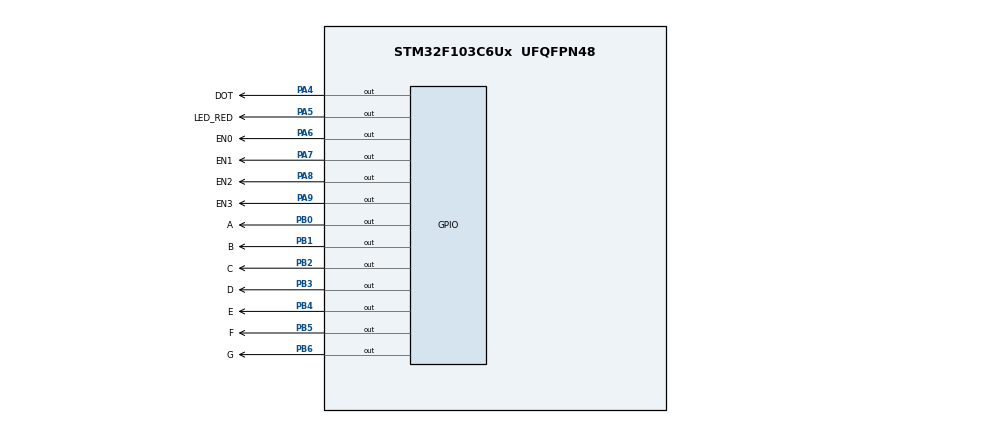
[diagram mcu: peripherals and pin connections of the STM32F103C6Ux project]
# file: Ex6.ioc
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Mcu.Family=STM32F1
Mcu.Name=STM32F103C6Ux
Mcu.Package=UFQFPN48
NVIC.PriorityGroup=NVIC_PRIORITYGROUP_4
NVIC.TIM2_IRQn=true\:0\:0\:false\:false\:true\:true\:true
PA4.GPIO_Label=DOT
PA4.Signal=GPIO_Output
PA5.GPIO_Label=LED_RED
PA5.Signal=GPIO_Output
PA6.GPIO_Label=EN0
PA6.Signal=GPIO_Output
PA7.GPIO_Label=EN1
PA7.Signal=GPIO_Output
PA8.GPIO_Label=EN2
PA8.Signal=GPIO_Output
PA9.GPIO_Label=EN3
PA9.Signal=GPIO_Output
PB0.GPIO_Label=A
PB0.Signal=GPIO_Output
PB1.GPIO_Label=B
PB1.Signal=GPIO_Output
PB2.GPIO_Label=C
PB2.Signal=GPIO_Output
PB3.GPIO_Label=D
PB3.Signal=GPIO_Output
PB4.GPIO_Label=E
PB4.Signal=GPIO_Output
PB5.GPIO_Label=F
PB5.Signal=GPIO_Output
PB6.GPIO_Label=G
PB6.Signal=GPIO_Output
ProjectManager.HeapSize=0x200
ProjectManager.StackSize=0x400
ProjectManager.TargetToolchain=STM32CubeIDE
RCC.APB1Freq_Value=8000000
RCC.APB2Freq_Value=8000000
TIM2.Period=9
TIM2.Prescaler=7999
VP_SYS_VS_ND.Mode=No_Debug
VP_TIM2_VS_ClockSourceINT.Mode=Internal
board=custom

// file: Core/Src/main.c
/* USER CODE BEGIN Header */
/**
  ******************************************************************************
  * @file           : main.c
  * @brief          : Main program body
  ******************************************************************************
  * @attention
  *
  * <h2><center>&copy; Copyright (c) 2022 STMicroelectronics.
  * All rights reserved.</center></h2>
  *
  * This software component is licensed by ST under BSD 3-Clause license,
  * the "License"; You may not use this file except in compliance with the
  * License. You may obtain a copy of the License at:
  *                        opensource.org/licenses/BSD-3-Clause
  *
  ******************************************************************************
  */
/* USER CODE END Header */
#include "main.h"

TIM_HandleTypeDef htim2;

void SystemClock_Config(void);
static void MX_TIM2_Init(void);
static void MX_GPIO_Init(void);

/* USER CODE BEGIN 0 */
int timer0_counter=0;
int timer0_flag = 0;
int TIMER_CYCLE=9;
void setTimer0(int duration){
	timer0_counter = duration/TIMER_CYCLE;
	timer0_flag=0;
}
void timer_run(){
	if(timer0_counter>0){
		timer0_counter--;
		if (timer0_counter==0) timer0_flag=1;
	}
}
/* USER CODE END 0 */

void display7SEG(int num)
{
	int seg[10]={0xC0, 0xF9, 0xA4, 0xB0, 0x99, 0x92, 0x82, 0xF8, 0x80, 0x90};
	HAL_GPIO_WritePin(GPIOB, A_Pin,((seg[num]>>0)&0x01));
	HAL_GPIO_WritePin(GPIOB, B_Pin,((seg[num]>>1)&0x01));
	HAL_GPIO_WritePin(GPIOB, C_Pin,((seg[num]>>2)&0x01));
	HAL_GPIO_WritePin(GPIOB, D_Pin,((seg[num]>>3)&0x01));
	HAL_GPIO_WritePin(GPIOB, E_Pin,((seg[num]>>4)&0x01));
	HAL_GPIO_WritePin(GPIOB, F_Pin,((seg[num]>>5)&0x01));
	HAL_GPIO_WritePin(GPIOB, G_Pin,((seg[num]>>6)&0x01));
}
void updateClockBuffer (int h, int m);
int main(void)
{

  /* MCU Configuration--------------------------------------------------------*/

  /* Reset of all peripherals, Initializes the Flash interface and the Systick. */
  HAL_Init();

  /* Configure the system clock */
  SystemClock_Config();

  /* Initialize all configured peripherals */
  MX_TIM2_Init();
  MX_GPIO_Init();
  /* USER CODE BEGIN 2 */
  HAL_TIM_Base_Start_IT(&htim2);
  //int hour = 15, minute = 8, second = 50;
  setTimer0(1000);
  /* USER CODE END 2 */

  /* Infinite loop */
  /* USER CODE BEGIN WHILE */
  while (1)
  {
	  if(timer0_flag ==1){
		  HAL_GPIO_TogglePin(GPIOA, LED_RED_Pin);
		  setTimer0(1000);
	  }
/*	  second ++;
	  if ( second >= 60) {
		  second = 0;
		  minute ++;
	  }
	  if( minute >= 60) {
		  minute = 0;
		  hour ++;
	  }
	  if( hour >=24){
		  hour = 0;
	  }
	  updateClockBuffer (hour, minute);
	  HAL_Delay (1000) ;*/
    /* USER CODE END WHILE */

  }
}

void SystemClock_Config(void)
{
  RCC_OscInitTypeDef RCC_OscInitStruct = {0};
  RCC_ClkInitTypeDef RCC_ClkInitStruct = {0};

  /** Initializes the RCC Oscillators according to the specified parameters
  * in the RCC_OscInitTypeDef structure.
  */
  RCC_OscInitStruct.OscillatorType = RCC_OSCILLATORTYPE_HSI;
  RCC_OscInitStruct.HSIState = RCC_HSI_ON;
  RCC_OscInitStruct.HSICalibrationValue = RCC_HSICALIBRATION_DEFAULT;
  RCC_OscInitStruct.PLL.PLLState = RCC_PLL_NONE;
  if (HAL_RCC_OscConfig(&RCC_OscInitStruct) != HAL_OK)
  {
    Error_Handler();
  }
  /** Initializes the CPU, AHB and APB buses clocks
  */
  RCC_ClkInitStruct.ClockType = RCC_CLOCKTYPE_HCLK|RCC_CLOCKTYPE_SYSCLK
                              |RCC_CLOCKTYPE_PCLK1|RCC_CLOCKTYPE_PCLK2;
  RCC_ClkInitStruct.SYSCLKSource = RCC_SYSCLKSOURCE_HSI;
  RCC_ClkInitStruct.AHBCLKDivider = RCC_SYSCLK_DIV1;
  RCC_ClkInitStruct.APB1CLKDivider = RCC_HCLK_DIV1;
  RCC_ClkInitStruct.APB2CLKDivider = RCC_HCLK_DIV1;

  if (HAL_RCC_ClockConfig(&RCC_ClkInitStruct, FLASH_LATENCY_0) != HAL_OK)
  {
    Error_Handler();
  }
}

static void MX_TIM2_Init(void)
{

  TIM_ClockConfigTypeDef sClockSourceConfig = {0};
  TIM_MasterConfigTypeDef sMasterConfig = {0};

  htim2.Instance = TIM2;
  htim2.Init.Prescaler = 7999;
  htim2.Init.CounterMode = TIM_COUNTERMODE_UP;
  htim2.Init.Period = 9;
  htim2.Init.ClockDivision = TIM_CLOCKDIVISION_DIV1;
  htim2.Init.AutoReloadPreload = TIM_AUTORELOAD_PRELOAD_DISABLE;
  if (HAL_TIM_Base_Init(&htim2) != HAL_OK)
  {
    Error_Handler();
  }
  sClockSourceConfig.ClockSource = TIM_CLOCKSOURCE_INTERNAL;
  if (HAL_TIM_ConfigClockSource(&htim2, &sClockSourceConfig) != HAL_OK)
  {
    Error_Handler();
  }
  sMasterConfig.MasterOutputTrigger = TIM_TRGO_RESET;
  sMasterConfig.MasterSlaveMode = TIM_MASTERSLAVEMODE_DISABLE;
  if (HAL_TIMEx_MasterConfigSynchronization(&htim2, &sMasterConfig) != HAL_OK)
  {
    Error_Handler();
  }

}

static void MX_GPIO_Init(void)
{
  GPIO_InitTypeDef GPIO_InitStruct = {0};

  /* GPIO Ports Clock Enable */
  __HAL_RCC_GPIOA_CLK_ENABLE();
  __HAL_RCC_GPIOB_CLK_ENABLE();

  /*Configure GPIO pin Output Level */
  HAL_GPIO_WritePin(GPIOA, DOT_Pin|LED_RED_Pin|EN0_Pin|EN1_Pin
                          |EN2_Pin|EN3_Pin, GPIO_PIN_RESET);

  /*Configure GPIO pin Output Level */
  HAL_GPIO_WritePin(GPIOB, A_Pin|B_Pin|C_Pin|D_Pin
                          |E_Pin|F_Pin|G_Pin, GPIO_PIN_RESET);

  /*Configure GPIO pins : DOT_Pin LED_RED_Pin EN0_Pin EN1_Pin
                           EN2_Pin EN3_Pin */
  GPIO_InitStruct.Pin = DOT_Pin|LED_RED_Pin|EN0_Pin|EN1_Pin
                          |EN2_Pin|EN3_Pin;
  GPIO_InitStruct.Mode = GPIO_MODE_OUTPUT_PP;
  GPIO_InitStruct.Pull = GPIO_NOPULL;
  GPIO_InitStruct.Speed = GPIO_SPEED_FREQ_LOW;
  HAL_GPIO_Init(GPIOA, &GPIO_InitStruct);

  /*Configure GPIO pins : A_Pin B_Pin C_Pin D_Pin
                           E_Pin F_Pin G_Pin */
  GPIO_InitStruct.Pin = A_Pin|B_Pin|C_Pin|D_Pin
                          |E_Pin|F_Pin|G_Pin;
  GPIO_InitStruct.Mode = GPIO_MODE_OUTPUT_PP;
  GPIO_InitStruct.Pull = GPIO_NOPULL;
  GPIO_InitStruct.Speed = GPIO_SPEED_FREQ_LOW;
  HAL_GPIO_Init(GPIOB, &GPIO_InitStruct);

}

/* USER CODE BEGIN 4 */
 const int MAX_LED = 4;
 int index_led = 0;
 int led_buffer [4] = {0, 0, 0, 0};
 int seg;
 int count=10;
 int led=4;
 void updateClockBuffer (int h, int m)
 {
	 led_buffer[0]=h/10;
	 led_buffer[1]=h-((h/10)*10);
	 led_buffer[2]=m/10;
	 led_buffer[3]=m-((m/10)*10);

 }
 void update7SEG ( int index ){
	 switch ( index ){
	 case 0:
		 HAL_GPIO_WritePin(GPIOA, EN1_Pin,SET);
		 HAL_GPIO_WritePin(GPIOA, EN2_Pin,SET);
		 HAL_GPIO_WritePin(GPIOA, EN3_Pin,SET);
		 HAL_GPIO_WritePin(GPIOA, EN0_Pin,RESET);
		 seg=led_buffer[0];
		 display7SEG(seg);
		 break ;
	 case 1:
		 HAL_GPIO_WritePin(GPIOA, EN0_Pin,SET);
		 HAL_GPIO_WritePin(GPIOA, EN2_Pin,SET);
		 HAL_GPIO_WritePin(GPIOA, EN3_Pin,SET);
		 HAL_GPIO_WritePin(GPIOA, EN1_Pin,RESET);
		 seg=led_buffer[1];
		 display7SEG(seg);
		 break ;
	 case 2:
		 HAL_GPIO_WritePin(GPIOA, EN0_Pin,SET);
		 HAL_GPIO_WritePin(GPIOA, EN1_Pin,SET);
		 HAL_GPIO_WritePin(GPIOA, EN3_Pin,SET);
		 HAL_GPIO_WritePin(GPIOA, EN2_Pin,RESET);
		 seg=led_buffer[2];
		 display7SEG(seg);
		 break ;
	 case 3:
		 HAL_GPIO_WritePin(GPIOA, EN0_Pin,SET);
		 HAL_GPIO_WritePin(GPIOA, EN1_Pin,SET);
		 HAL_GPIO_WritePin(GPIOA, EN2_Pin,SET);
		 HAL_GPIO_WritePin(GPIOA, EN3_Pin,RESET);
		 seg=led_buffer[3];
		 display7SEG(seg);
		 break ;
	 default :
		 break ;
	 }
 }
void HAL_TIM_PeriodElapsedCallback(TIM_HandleTypeDef *htim)
{
	timer_run();
/*	if(count==10)
		{
			update7SEG(index_led++);
			if(led==4) HAL_GPIO_WritePin(GPIOA, DOT_Pin,RESET);
		}
	count--;
	if(count<=0){
		count=10;
		if(led==4) HAL_GPIO_WritePin(GPIOA, DOT_Pin,SET);
		led--;
		if(led<=0)led=4;
	}
	if(index_led>=MAX_LED) index_led=0;*/
}
/* USER CODE END 4 */

void Error_Handler(void)
{
  __disable_irq();
  while (1)
  {
  }
}

/************************ (C) COPYRIGHT STMicroelectronics *****END OF FILE****/
